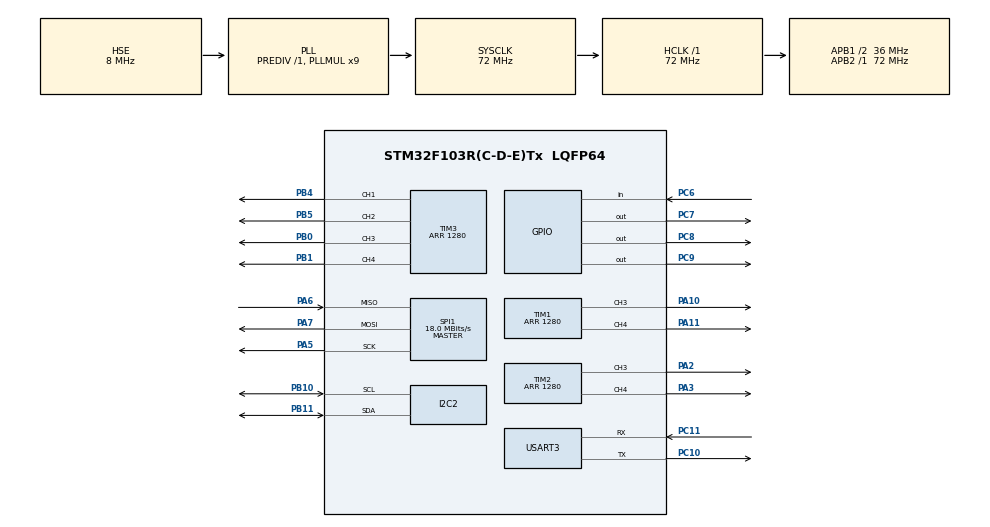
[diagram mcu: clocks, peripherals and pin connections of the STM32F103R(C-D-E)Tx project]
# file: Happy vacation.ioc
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Dma.Request0=USART3_RX
Dma.Request1=USART3_TX
Dma.USART3_RX.0.Direction=DMA_PERIPH_TO_MEMORY
Dma.USART3_RX.0.Instance=DMA1_Channel3
Dma.USART3_RX.0.MemDataAlignment=DMA_MDATAALIGN_BYTE
Dma.USART3_RX.0.MemInc=DMA_MINC_ENABLE
Dma.USART3_RX.0.Mode=DMA_NORMAL
Dma.USART3_RX.0.PeriphDataAlignment=DMA_PDATAALIGN_BYTE
Dma.USART3_RX.0.PeriphInc=DMA_PINC_DISABLE
Dma.USART3_RX.0.Priority=DMA_PRIORITY_LOW
Dma.USART3_TX.1.Direction=DMA_MEMORY_TO_PERIPH
Dma.USART3_TX.1.Instance=DMA1_Channel2
Dma.USART3_TX.1.MemDataAlignment=DMA_MDATAALIGN_BYTE
Dma.USART3_TX.1.MemInc=DMA_MINC_ENABLE
Dma.USART3_TX.1.Mode=DMA_NORMAL
Dma.USART3_TX.1.PeriphDataAlignment=DMA_PDATAALIGN_BYTE
Dma.USART3_TX.1.PeriphInc=DMA_PINC_DISABLE
Dma.USART3_TX.1.Priority=DMA_PRIORITY_LOW
Mcu.Family=STM32F1
Mcu.Name=STM32F103R(C-D-E)Tx
Mcu.Package=LQFP64
NVIC.DMA1_Channel2_IRQn=true\:0\:0\:false\:false\:true\:false\:true
NVIC.DMA1_Channel3_IRQn=true\:0\:0\:false\:false\:true\:false\:true
NVIC.PriorityGroup=NVIC_PRIORITYGROUP_4
NVIC.RCC_IRQn=true\:0\:0\:false\:false\:true\:true\:false
NVIC.SPI1_IRQn=true\:0\:0\:false\:false\:true\:true\:true
NVIC.TIM2_IRQn=true\:0\:0\:false\:false\:true\:true\:true
NVIC.TIM3_IRQn=true\:0\:0\:false\:false\:true\:true\:true
NVIC.USART3_IRQn=true\:0\:0\:false\:false\:true\:true\:true
PA10.Signal=S_TIM1_CH3
PA11.Signal=S_TIM1_CH4
PA13.Mode=Serial_Wire
PA13.Signal=SYS_JTMS-SWDIO
PA14.Mode=Serial_Wire
PA14.Signal=SYS_JTCK-SWCLK
PA2.Signal=S_TIM2_CH3
PA3.Signal=S_TIM2_CH4
PA5.Mode=Full_Duplex_Master
PA5.Signal=SPI1_SCK
PA6.Mode=Full_Duplex_Master
PA6.Signal=SPI1_MISO
PA7.Mode=Full_Duplex_Master
PA7.Signal=SPI1_MOSI
PB0.Signal=S_TIM3_CH3
PB1.Signal=S_TIM3_CH4
PB10.Mode=I2C
PB10.Signal=I2C2_SCL
PB11.Mode=I2C
PB11.Signal=I2C2_SDA
PB4.Signal=S_TIM3_CH1
PB5.Signal=S_TIM3_CH2
PC10.Mode=Asynchronous
PC10.Signal=USART3_TX
PC11.Mode=Asynchronous
PC11.Signal=USART3_RX
PC6.Signal=GPIO_Input
PC7.Signal=GPIO_Output
PC8.Signal=GPIO_Output
PC9.Signal=GPIO_Output
PD0-OSC_IN.Mode=HSE-External-Oscillator
PD0-OSC_IN.Signal=RCC_OSC_IN
PD1-OSC_OUT.Mode=HSE-External-Oscillator
PD1-OSC_OUT.Signal=RCC_OSC_OUT
ProjectManager.HeapSize=0x200
ProjectManager.StackSize=0x400
ProjectManager.TargetToolchain=MDK-ARM V5.27
RCC.AHBFreq_Value=72000000
RCC.APB1CLKDivider=RCC_HCLK_DIV2
RCC.APB1Freq_Value=36000000
RCC.APB1TimFreq_Value=72000000
RCC.APB2Freq_Value=72000000
RCC.APB2TimFreq_Value=72000000
RCC.HCLKFreq_Value=72000000
RCC.PLLMUL=RCC_PLL_MUL9
RCC.PLLSourceVirtual=RCC_PLLSOURCE_HSE
RCC.SYSCLKFreq_VALUE=72000000
RCC.SYSCLKSource=RCC_SYSCLKSOURCE_PLLCLK
RCC.USBFreq_Value=72000000
SH.S_TIM1_CH3.0=TIM1_CH3,PWM Generation3 CH3
SH.S_TIM1_CH4.0=TIM1_CH4,PWM Generation4 CH4
SH.S_TIM2_CH3.0=TIM2_CH3,PWM Generation3 CH3
SH.S_TIM2_CH4.0=TIM2_CH4,PWM Generation4 CH4
SH.S_TIM3_CH1.0=TIM3_CH1,PWM Generation1 CH1
SH.S_TIM3_CH2.0=TIM3_CH2,PWM Generation2 CH2
SH.S_TIM3_CH3.0=TIM3_CH3,PWM Generation3 CH3
SH.S_TIM3_CH4.0=TIM3_CH4,PWM Generation4 CH4
SPI1.BaudRatePrescaler=SPI_BAUDRATEPRESCALER_4
SPI1.CalculateBaudRate=18.0 MBits/s
SPI1.Direction=SPI_DIRECTION_2LINES
SPI1.Mode=SPI_MODE_MASTER
SPI1.VirtualType=VM_MASTER
TIM1.Channel-PWM\ Generation3\ CH3=TIM_CHANNEL_3
TIM1.Channel-PWM\ Generation4\ CH4=TIM_CHANNEL_4
TIM1.Period=1280
TIM2.Channel-PWM\ Generation3\ CH3=TIM_CHANNEL_3
TIM2.Channel-PWM\ Generation4\ CH4=TIM_CHANNEL_4
TIM2.Period=1280
TIM3.Channel-PWM\ Generation1\ CH1=TIM_CHANNEL_1
TIM3.Channel-PWM\ Generation2\ CH2=TIM_CHANNEL_2
TIM3.Channel-PWM\ Generation3\ CH3=TIM_CHANNEL_3
TIM3.Channel-PWM\ Generation4\ CH4=TIM_CHANNEL_4
TIM3.Period=1280
TIM3.Pulse-PWM\ Generation3\ CH3=0
USART3.VirtualMode=VM_ASYNC
board=custom

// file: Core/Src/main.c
/* USER CODE BEGIN Header */
/**
  ******************************************************************************
  * @file           : main.c
  * @brief          : Main program body
  ******************************************************************************
  * @attention
  *
  * <h2><center>&copy; Copyright (c) 2021 STMicroelectronics.
  * All rights reserved.</center></h2>
  *
  * This software component is licensed by ST under BSD 3-Clause license,
  * the "License"; You may not use this file except in compliance with the
  * License. You may obtain a copy of the License at:
  *                        opensource.org/licenses/BSD-3-Clause
  *
  ******************************************************************************
  */
/* USER CODE END Header */
#include "main.h"
#include "dma.h"
#include "i2c.h"
#include "spi.h"
#include "tim.h"
#include "usart.h"
#include "gpio.h"

/* USER CODE BEGIN Includes */
#include "delay.h"
#include "ps2.h"
#include "math.h"
#include "stdlib.h"
#include "SerialDebug.h"
#include "Chassis.h"
#include "controler.h"
/* USER CODE END Includes */

/* USER CODE BEGIN PV */
 PID_t Motor_pid; //声明PID数据结构体
 const Motor_t *motor_date; //声明电机结构体指针
 int set_speed = 0 ; //目标速度

 const float PID[3] = {15000 , 10 , 0 }; //P  I  D
/* USER CODE END PV */

void SystemClock_Config(void);

int main(void)
{

  /* MCU Configuration--------------------------------------------------------*/

  /* Reset of all peripherals, Initializes the Flash interface and the Systick. */
  HAL_Init();

  /* Configure the system clock */
  SystemClock_Config();

  /* Initialize all configured peripherals */
  MX_GPIO_Init();
  MX_DMA_Init();
  MX_TIM1_Init();
  MX_USART3_UART_Init();
  MX_SPI1_Init();
  MX_TIM3_Init();
  MX_TIM2_Init();
  MX_I2C2_Init();
  /* USER CODE BEGIN 2 */
  HAL_TIM_PWM_Start(&htim2 ,TIM_CHANNEL_3 );
  HAL_TIM_PWM_Start(&htim2 ,TIM_CHANNEL_4 );
  HAL_TIM_PWM_Start(&htim1 ,TIM_CHANNEL_3 );
  HAL_TIM_PWM_Start(&htim1 ,TIM_CHANNEL_4 );
  HAL_TIM_PWM_Start(&htim3 ,TIM_CHANNEL_1 );
  HAL_TIM_PWM_Start(&htim3 ,TIM_CHANNEL_2 );
  HAL_TIM_PWM_Start(&htim3 ,TIM_CHANNEL_3 );
  HAL_TIM_PWM_Start(&htim3 ,TIM_CHANNEL_4 );
  delay_init(72);
  delay_ms(500);
  PS2_SetInit();
  Chassis_Init();
  //PID_Init(&Motor_pid, float Kp , float Ki , float Kd , float limMax , float limMin , float T , float tau);
  /* USER CODE END 2 */

  /* Infinite loop */
  while (1)
  {

    /* USER CODE BEGIN 3 */

	 PS2_Receive();
	 delay_ms (1);
	 Chassis_Control ();
	 //	  PID_Update(&Motor_pid , )  //待思考

  }
  /* USER CODE END 3 */
}

void SystemClock_Config(void)
{
  RCC_OscInitTypeDef RCC_OscInitStruct = {0};
  RCC_ClkInitTypeDef RCC_ClkInitStruct = {0};

  /** Initializes the RCC Oscillators according to the specified parameters
  * in the RCC_OscInitTypeDef structure.
  */
  RCC_OscInitStruct.OscillatorType = RCC_OSCILLATORTYPE_HSE;
  RCC_OscInitStruct.HSEState = RCC_HSE_ON;
  RCC_OscInitStruct.HSEPredivValue = RCC_HSE_PREDIV_DIV1;
  RCC_OscInitStruct.HSIState = RCC_HSI_ON;
  RCC_OscInitStruct.PLL.PLLState = RCC_PLL_ON;
  RCC_OscInitStruct.PLL.PLLSource = RCC_PLLSOURCE_HSE;
  RCC_OscInitStruct.PLL.PLLMUL = RCC_PLL_MUL9;
  if (HAL_RCC_OscConfig(&RCC_OscInitStruct) != HAL_OK)
  {
    Error_Handler();
  }
  /** Initializes the CPU, AHB and APB buses clocks
  */
  RCC_ClkInitStruct.ClockType = RCC_CLOCKTYPE_HCLK|RCC_CLOCKTYPE_SYSCLK
                              |RCC_CLOCKTYPE_PCLK1|RCC_CLOCKTYPE_PCLK2;
  RCC_ClkInitStruct.SYSCLKSource = RCC_SYSCLKSOURCE_PLLCLK;
  RCC_ClkInitStruct.AHBCLKDivider = RCC_SYSCLK_DIV1;
  RCC_ClkInitStruct.APB1CLKDivider = RCC_HCLK_DIV2;
  RCC_ClkInitStruct.APB2CLKDivider = RCC_HCLK_DIV1;

  if (HAL_RCC_ClockConfig(&RCC_ClkInitStruct, FLASH_LATENCY_2) != HAL_OK)
  {
    Error_Handler();
  }
}

void Error_Handler(void)
{
}

/************************ (C) COPYRIGHT STMicroelectronics *****END OF FILE****/
